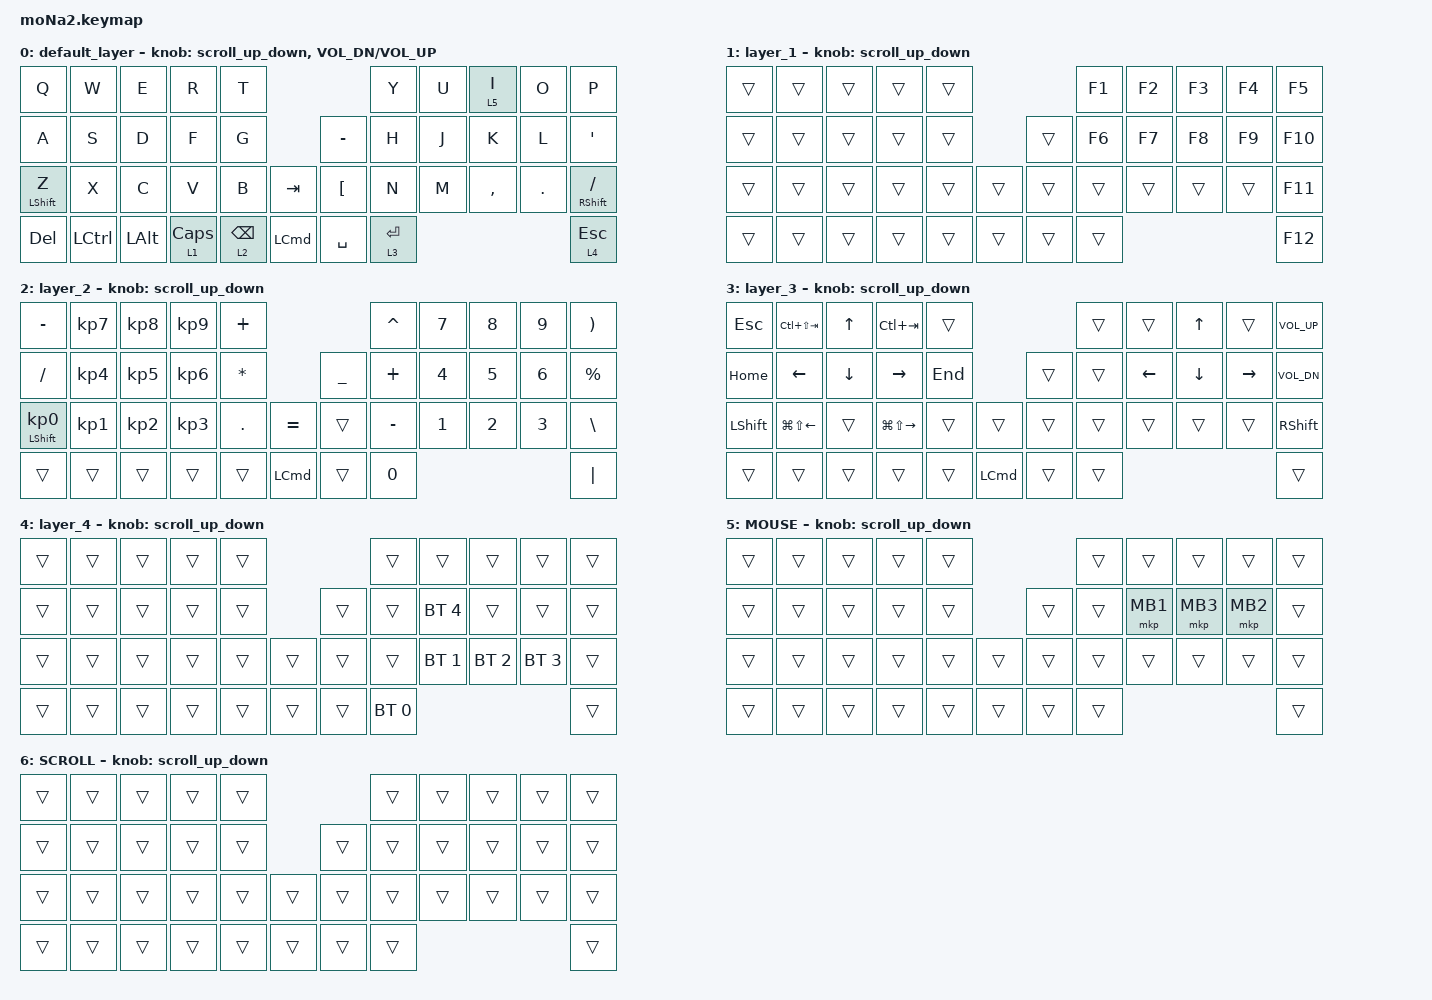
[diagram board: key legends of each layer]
#define ZMK_POINTING_DEFAULT_SCRL_VAL 100
#define MOUSE 5
#define SCROLL 6

&mt {
    flavor = "balanced";
    quick-tap-ms = <0>;
};

/ {
    combos { compatible = "zmk,combos"; };

    macros {
        to_layer_0: to_layer_0 {
            compatible = "zmk,behavior-macro-one-param";
            #binding-cells = <1>;
            bindings = <&to 0 &macro_param_1to1 &kp MACRO_PLACEHOLDER>;
            label = "TO_LAYER_0";
        };
    };

    behaviors {
        lt_to_layer_0: lt_to_layer_0 {
            compatible = "zmk,behavior-hold-tap";
            label = "LAYER_TAP_TO_0";
            bindings = <&mo>, <&to_layer_0>;

            #binding-cells = <2>;
            tapping-term-ms = <200>;
        };

        scroll_up_down: behavior_sensor_rotate_mouse_wheel_up_down {
            compatible = "zmk,behavior-sensor-rotate";
            #sensor-binding-cells = <0>;
            bindings = <&msc SCRL_UP>, <&msc SCRL_DOWN>;

            tap-ms = <20>;
        };
    };

    keymap {
        compatible = "zmk,keymap";

        default_layer {
            bindings = <
&kp Q             &kp W             &kp E         &kp R           &kp T                                                  &kp Y        &kp U  &lt 5 I    &kp O    &kp P
&kp A             &kp S             &kp D         &kp F           &kp G                                &kp MINUS         &kp H        &kp J  &kp K      &kp L    &kp SQT
&mt LEFT_SHIFT Z  &kp X             &kp C         &kp V           &kp B            &kp TAB             &kp LEFT_BRACKET  &kp N        &kp M  &kp COMMA  &kp DOT  &mt RIGHT_SHIFT SLASH
&kp DELETE        &kp LEFT_CONTROL  &kp LEFT_ALT  &lt 1 CAPSLOCK  &lt 2 BACKSPACE  &kp LEFT_COMMAND    &kp SPACE         &lt 3 ENTER                             &lt 4 ESCAPE
            >;

            sensor-bindings =
                <&scroll_up_down>,
                <&inc_dec_kp C_VOL_DN C_VOL_UP>;
        };

        layer_1 {
            bindings = <
&trans  &trans  &trans  &trans  &trans                    &kp F1  &kp F2  &kp F3  &kp F4  &kp F5
&trans  &trans  &trans  &trans  &trans            &trans  &kp F6  &kp F7  &kp F8  &kp F9  &kp F10
&trans  &trans  &trans  &trans  &trans  &trans    &trans  &trans  &trans  &trans  &trans  &kp F11
&trans  &trans  &trans  &trans  &trans  &trans    &trans  &trans                          &kp F12
            >;

            sensor-bindings = <&scroll_up_down>;
        };

        layer_2 {
            bindings = <
&kp MINUS                   &kp KP_NUMBER_7  &kp KP_NUMBER_8  &kp KP_NUMBER_9  &kp PLUS                                          &kp CARET  &kp N7        &kp N8        &kp N9        &kp RIGHT_PARENTHESIS
&kp SLASH                   &kp KP_NUMBER_4  &kp KP_NUMBER_5  &kp KP_NUMBER_6  &kp ASTERISK                      &kp UNDERSCORE  &kp PLUS   &kp NUMBER_4  &kp N5        &kp NUMBER_6  &kp PERCENT
&mt LEFT_SHIFT KP_NUMBER_0  &kp KP_NUMBER_1  &kp KP_NUMBER_2  &kp KP_NUMBER_3  &kp PERIOD    &kp EQUAL           &trans          &kp MINUS  &kp NUMBER_1  &kp NUMBER_2  &kp NUMBER_3  &kp BACKSLASH
&trans                      &trans           &trans           &trans           &trans        &kp LEFT_COMMAND    &trans          &kp N0                                               &kp PIPE
            >;

            sensor-bindings = <&scroll_up_down>;
        };

        layer_3 {
            bindings = <
&kp ESCAPE      &kp LC(LS(TAB))         &kp UP_ARROW    &kp LC(TAB)              &trans                               &trans  &trans          &kp UP_ARROW    &trans           &kp C_VOLUME_UP
&kp HOME        &kp LEFT_ARROW          &kp DOWN_ARROW  &kp RIGHT_ARROW          &kp END                      &trans  &trans  &kp LEFT_ARROW  &kp DOWN_ARROW  &kp RIGHT_ARROW  &kp C_VOL_DN
&kp LEFT_SHIFT  &kp LG(LS(LEFT_ARROW))  &trans          &kp LG(LS(RIGHT_ARROW))  &trans   &trans              &trans  &trans  &trans          &trans          &trans           &kp RSHIFT
&trans          &trans                  &trans          &trans                   &trans   &kp LEFT_COMMAND    &trans  &trans                                                   &trans
            >;

            sensor-bindings = <&scroll_up_down>;
        };

        layer_4 {
            bindings = <
&trans  &trans  &trans  &trans  &trans                    &trans        &trans        &trans        &trans        &trans
&trans  &trans  &trans  &trans  &trans            &trans  &trans        &bt BT_SEL 4  &trans        &trans        &trans
&trans  &trans  &trans  &trans  &trans  &trans    &trans  &trans        &bt BT_SEL 1  &bt BT_SEL 2  &bt BT_SEL 3  &trans
&trans  &trans  &trans  &trans  &trans  &trans    &trans  &bt BT_SEL 0                                            &trans
            >;

            sensor-bindings = <&scroll_up_down>;
        };

        MOUSE {
            bindings = <
&trans  &trans  &trans  &trans  &trans                    &trans  &trans    &trans    &trans    &trans
&trans  &trans  &trans  &trans  &trans            &trans  &trans  &mkp MB1  &mkp MB3  &mkp MB2  &trans
&trans  &trans  &trans  &trans  &trans  &trans    &trans  &trans  &trans    &trans    &trans    &trans
&trans  &trans  &trans  &trans  &trans  &trans    &trans  &trans                                &trans
            >;

            sensor-bindings = <&scroll_up_down>;
        };

        SCROLL {
            bindings = <
&trans  &trans  &trans  &trans  &trans                    &trans  &trans  &trans  &trans  &trans
&trans  &trans  &trans  &trans  &trans            &trans  &trans  &trans  &trans  &trans  &trans
&trans  &trans  &trans  &trans  &trans  &trans    &trans  &trans  &trans  &trans  &trans  &trans
&trans  &trans  &trans  &trans  &trans  &trans    &trans  &trans                          &trans
            >;

            sensor-bindings = <&scroll_up_down>;
        };
    };
};

#include <input/processors.dtsi>
#include <behaviors.dtsi>
#include <dt-bindings/zmk/bt.h>
#include <dt-bindings/zmk/keys.h>
#include <dt-bindings/zmk/pointing.h>

&mkp_input_listener { input-processors = <&zip_temp_layer 5 250>; };
